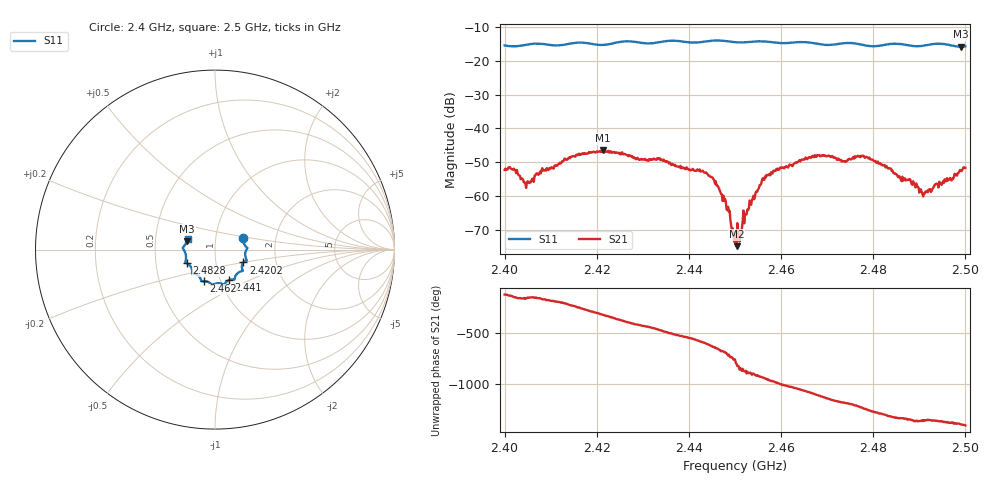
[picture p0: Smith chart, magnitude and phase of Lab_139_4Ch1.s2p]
# Hz S RI R 50
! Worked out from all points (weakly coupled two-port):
!   601 points, 2.4 GHz to 2.5 GHz, reference 50 ohm
!   highest |S21| = -46.53 dB at 2.4213 GHz (marker M1); lowest = -74.9 dB at 2.4503 GHz (marker M2)
!   lowest |S11| = -15.8 dB at 2.499 GHz (marker M3), VSWR 1.39, Z = 36.4 + j3.54 ohm
!   |S11| at or under -10 dB: start of sweep to end of sweep
!   S12 and S22 are empty: the file has one direction only
!   S11 on the Smith chart (normalised r, x): 2.4 GHz: 1.36, +0.17; 2.4202 GHz: 1.36, -0.20; 2.441 GHz: 1.10, -0.39; 2.462 GHz: 0.84, -0.30; 2.4828 GHz: 0.72, -0.11; 2.5 GHz: 0.73, +0.09
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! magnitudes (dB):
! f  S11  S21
! 2.4 GHz  -15.4  -52.3
! 2.4022 GHz  -15.7  -52.3
! 2.405 GHz  -15.1  -55.7
! 2.4167 GHz  -14.6  -47.7
! 2.4202 GHz  -15.2  -47.0
! 2.4213 GHz  -15.3  -46.5
! 2.4333 GHz  -14.5  -48.9
! 2.441 GHz  -14.6  -52.3
! 2.4457 GHz  -13.9  -56.4
! 2.4483 GHz  -14.2  -64.3
! 2.45 GHz  -14.4  -70.8
! 2.4503 GHz  -14.5  -74.9
! 2.4512 GHz  -14.5  -71.3
! 2.4563 GHz  -14.2  -55.3
! 2.462 GHz  -14.6  -50.7
! 2.4667 GHz  -14.6  -48.4
! 2.4775 GHz  -15.2  -48.3
! 2.4828 GHz  -15.1  -51.1
! 2.4833 GHz  -15.0  -51.9
! 2.491 GHz  -15.5  -59.3
! 2.499 GHz  -15.8  -52.5
! 2.5 GHz  -15.7  -51.7
